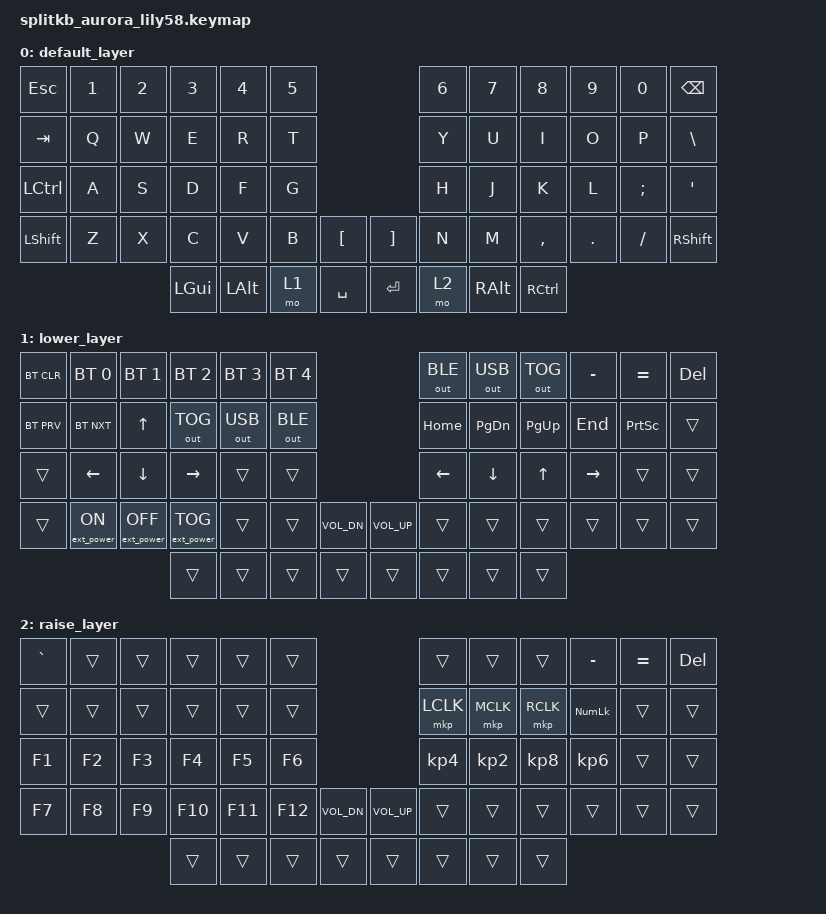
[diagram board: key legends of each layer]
/*
 * Copyright (c) 2020 The ZMK Contributors
 *
 * SPDX-License-Identifier: MIT
 */

#include <behaviors.dtsi>
#include <dt-bindings/zmk/mouse.h>
#include <dt-bindings/zmk/bt.h>
#include <dt-bindings/zmk/ext_power.h>
#include <dt-bindings/zmk/keys.h>
#include <dt-bindings/zmk/outputs.h>

// nice!view adapter override
// I added a "bodge wire" from the nice!view CS pin to the nice!nanov2 pin P1.01 (101)
// Docs suggest using P0.06[D1] (006) but the Aurora lily58 uses that pin for RGB
// I have no RGB but would like to avoid this pain in the future

nice_view_spi: &spi0 {
    cs-gpios = <&gpio1 1 GPIO_ACTIVE_HIGH>; //gpio1 is P1.01 (101)
};

// Keymap definition

/ {
    keymap {
        compatible = "zmk,keymap";

        default_layer {
            // ------------------------------------------------------------------------------------------------------------
            // |  ESC  |  1  |  2  |  3   |  4   |  5   |                   |  6   |  7    |  8    |  9   |   0   |   `   |
            // |  TAB  |  Q  |  W  |  E   |  R   |  T   |                   |  Y   |  U    |  I    |  O   |   P   |   -   |
            // |  CTRL |  A  |  S  |  D   |  F   |  G   |                   |  H   |  J    |  K    |  L   |   ;   |   '   |
            // | SHIFT |  Z  |  X  |  C   |  V   |  B   |   "["  |  |  "]"  |  N   |  M    |  ,    |  .   |   /   | SHIFT |
            //                     | ALT  | GUI  | LOWER|  SPACE |  | ENTER | RAISE| BSPC  | GUI   |

            bindings = <
&kp ESC    &kp N1  &kp N2  &kp N3    &kp N4    &kp N5                       &kp N6  &kp N7    &kp N8     &kp N9   &kp N0    &kp BACKSPACE
&kp TAB    &kp Q   &kp W   &kp E     &kp R     &kp T                        &kp Y   &kp U     &kp I      &kp O    &kp P     &kp BACKSLASH
&kp LCTRL  &kp A   &kp S   &kp D     &kp F     &kp G                        &kp H   &kp J     &kp K      &kp L    &kp SEMI  &kp SQT
&kp LSHFT  &kp Z   &kp X   &kp C     &kp V     &kp B   &kp LBKT   &kp RBKT  &kp N   &kp M     &kp COMMA  &kp DOT  &kp FSLH  &kp RSHFT
                           &kp LGUI  &kp LALT  &mo 1   &kp SPACE  &kp RET   &mo 2   &kp RALT  &kp RCTRL
            >;
        };

        lower_layer {
            // ------------------------------------------------------------------------------------------------------------
            // | BTCLR | BT1 | BT2 |  BT3 |  BT4 |  BT5 |                   |      |       |       |      |       |       |
            // |  F1   |  F2 |  F3 |  F4  |  F5  |  F6  |                   |  F7  |  F8   |  F9   |  F10 |  F11  |  F12  |
            // |   `   |  !  |  @  |  #   |  $   |  %   |                   |  ^   |  &    |  *    |  (   |   )   |   ~   |
            // |       |     |     |      |      |      |        |  |       |      |  _    |  +    |  {   |   }   |  "|"  |
            //                     |      |      |      |        |  |       |      |       |       |

            bindings = <
&bt BT_CLR  &bt BT_SEL 0      &bt BT_SEL 1       &bt BT_SEL 2       &bt BT_SEL 3  &bt BT_SEL 4                              &out OUT_BLE  &out OUT_USB   &out OUT_TOG  &kp MINUS  &kp EQUAL        &kp DEL
&bt BT_PRV  &bt BT_NXT        &kp UP             &out OUT_TOG       &out OUT_USB  &out OUT_BLE                              &kp HOME      &kp PAGE_DOWN  &kp PG_UP     &kp END    &kp PRINTSCREEN  &trans
&trans      &kp LEFT          &kp DOWN           &kp RIGHT          &trans        &trans                                    &kp LEFT      &kp DOWN       &kp UP        &kp RIGHT  &trans           &trans
&trans      &ext_power EP_ON  &ext_power EP_OFF  &ext_power EP_TOG  &trans        &trans        &kp K_VOL_DN  &kp K_VOL_UP  &trans        &trans         &trans        &trans     &trans           &trans
                                                 &trans             &trans        &trans        &trans        &trans        &trans        &trans         &trans
            >;
        };

        raise_layer {
            // ------------------------------------------------------------------------------------------------------------
            // |       |     |     |      |      |      |                   |      |       |       |      |       |       |
            // |   `   |  1  |  2  |  3   |  4   |  5   |                   |  6   |   7   |   8   |  9   |   0   |       |
            // |   F1  |  F2 |  F3 |  F4  |  F5  |  F6  |                   |      |   <-  |   v   |  ^   |  ->   |       |
            // |   F7  |  F8 |  F9 |  F10 |  F11 |  F12 |        |  |       |  +   |   -   |   =   |  [   |   ]   |   \   |
            //                     |      |      |      |        |  |       |      |       |       |

            bindings = <
&kp GRAVE  &trans  &trans  &trans   &trans   &trans                               &trans           &trans           &trans           &kp MINUS        &kp EQUAL  &kp DEL
&trans     &trans  &trans  &trans   &trans   &trans                               &mkp LCLK        &mkp MCLK        &mkp RCLK        &kp KP_NUMLOCK   &trans     &trans
&kp F1     &kp F2  &kp F3  &kp F4   &kp F5   &kp F6                               &kp KP_NUMBER_4  &kp KP_NUMBER_2  &kp KP_NUMBER_8  &kp KP_NUMBER_6  &trans     &trans
&kp F7     &kp F8  &kp F9  &kp F10  &kp F11  &kp F12  &kp K_VOL_DN  &kp K_VOL_UP  &trans           &trans           &trans           &trans           &trans     &trans
                           &trans   &trans   &trans   &trans        &trans        &trans           &trans           &trans
            >;
        };
    };
};
